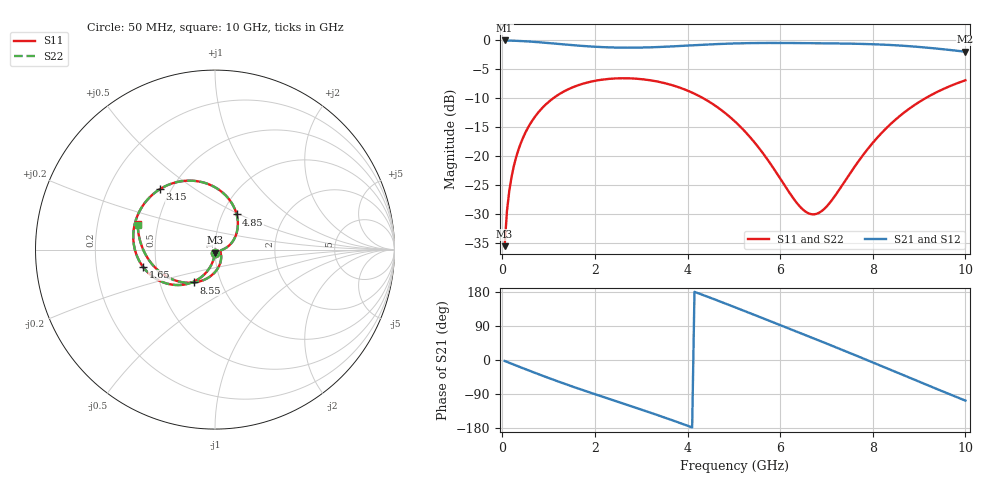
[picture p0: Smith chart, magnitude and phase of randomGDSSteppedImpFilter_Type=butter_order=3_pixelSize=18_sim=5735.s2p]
! freq	dB(S11)	phase(S11)	dB(S12)	phase(S12)
!  dB(S21)	phase(S21)	dB(S22)	phase(S22)
!S-par simulation data
#  GHz  S  DB  R 50
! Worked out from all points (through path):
!   200 points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, 50 MHz to 10 GHz, reference 50 ohm
!   highest |S21| = 0.00 dB at 50 MHz (marker M1); lowest = -1.9 dB at 10 GHz (marker M2)
!   group delay of S21, straight-line fit = 129 ps
!   lowest |S11| = -35.5 dB at 50 MHz (marker M3), VSWR 1.03, Z = 49.9 - j1.67 ohm
!   |S11| at or under -10 dB: start of sweep to 1.096 GHz; 4.345 GHz to 9.131 GHz (4.787 GHz wide, 71 % of centre)
!   |S22| runs from -35.5 to -6.5 dB; largest |S21 - S12| = 0
!   S11 on the Smith chart (normalised r, x): 50 MHz: 1.00, -0.03; 1.65 GHz: 0.42, -0.10; 3.15 GHz: 0.43, +0.37; 4.85 GHz: 1.17, +0.48; 8.55 GHz: 0.74, -0.29; 10 GHz: 0.38, +0.14
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0.05  -35.50 -92.5  -0.00 -2.5  -0.00 -2.5  -35.50 -92.5
0.1  -29.50 -95.2  -0.01 -4.9  -0.01 -4.9  -29.50 -95.2
0.2  -23.55 -100.3  -0.04 -9.8  -0.04 -9.8  -23.55 -100.3
0.45  -16.75 -112.5  -0.12 -21.8  -0.12 -21.8  -16.75 -112.5
1.05  -10.28 -140.2  -0.48 -49.7  -0.48 -49.7  -10.28 -140.2
1.65  -7.70 -166.4  -0.90 -75.7  -0.90 -75.7  -7.70 -166.4
1.75  -7.45 -170.6  -0.96 -79.9  -0.96 -79.9  -7.45 -170.6
2.45  -6.56 160.9  -1.23 -108.5  -1.23 -108.5  -6.56 160.9
3.15  -6.82 132.5  -1.20 -137.0  -1.20 -137.0  -6.82 132.5
3.4  -7.18 122.2  -1.13 -147.4  -1.13 -147.4  -7.18 122.2
4.15  -9.20 89.9  -0.82 179.9  -0.82 179.9  -9.19 89.9
4.85  -12.77 58.4  -0.56 147.5  -0.56 147.5  -12.77 58.3
5.05  -14.18 49.3  -0.51 138.0  -0.51 138.0  -14.18 49.3
5.9  -22.59 13.4  -0.44 97.0  -0.44 97.0  -22.59 13.4
6.4  -28.43 -2.7  -0.46 72.8  -0.46 72.8  -28.43 -2.7
6.7  -30.01 -13.3  -0.48 58.2  -0.48 58.2  -30.00 -13.2
7  -28.69 -30.1  -0.50 43.5  -0.50 43.5  -28.68 -29.9
7.55  -22.47 -65.8  -0.56 16.3  -0.56 16.3  -22.46 -65.6
8.35  -14.69 -111.6  -0.77 -24.1  -0.77 -24.1  -14.69 -111.4
8.55  -13.26 -122.5  -0.86 -34.3  -0.86 -34.3  -13.26 -122.3
9.25  -9.47 -159.6  -1.30 -69.8  -1.30 -69.8  -9.47 -159.4
10  -6.88 161.9  -1.95 -107.2  -1.95 -107.2  -6.88 162.1
